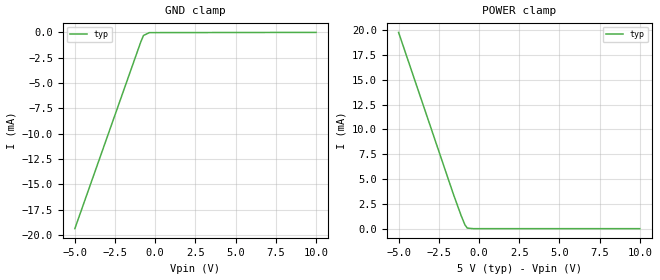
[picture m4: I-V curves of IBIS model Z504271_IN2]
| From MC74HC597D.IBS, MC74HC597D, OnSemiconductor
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| (C) COPYRIGHT 1993-2000
| MENTOR GRAPHICS CORPORATION
| ICX STANDARD LIBRARY, ICX PROJECT MODELING,
| ICX CUSTOM MODELING, ICX VENDOR MODEL
| ALL RIGHTS RESERVED.
| THE FOLLOWING ARE TRADEMARKS OR SERVICE MARKS OF
| MENTOR GRAPHICS CORPORATION:ICX (R), ICX STANDARD
| LIBRARY(R), ICX PROJECT MODELING(R), ICX CUSTOM
| MODELING(R), qualityIBIS(TM), MODELVIEWER(TM),
| AND MODELEDITOR(TM)
| ALL COPIES OF SOFTWARE, INCLUDING BUT NOT LIMITED TO
| ANY MODIFICATIONS, ENHANCEMENTS OR DERIVATIVE WORKS,
| MUST CONTAIN ALL MENTOR GRAPHICS CORPORATION'S
| NOTICES AND LEGENDS, INCLUDING THOSE EMBEDDED IN
| SOFTWARE AND THOSE AFFIXED TO SOFTWARE MEDIUM
| AND CONTAINER, AS RECEIVED FROM MENTOR GRAPHICS
| CORPORATION.
| Model Application Version 1.89 2/18/99.
[Model] Z504271_IN2
Model_type Input
Vinl = 1.000V
Vinh = 3.500V
C_comp 4.000pF NA NA
| variable typ   min   max
[Voltage Range] 5.000V NA NA
[GND Clamp Reference] 0.000V NA NA
[POWER Clamp Reference] 5.000V NA NA
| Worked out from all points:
|   POWER clamp passes 1 mA (typ) near -1.03 V on its own axis
[GND Clamp]
-5V       -19.36mA   NA         NA
-898.4mV  -937.3uA   NA         NA
-727.6mV  -297uA     NA         NA
-363.8mV  -19.22uA   NA         NA
10V       3.159uA    NA         NA
[POWER Clamp]
-5V       19.79mA    NA         NA
-1.597V   3.501mA    NA         NA
-1.099V   1.272mA    NA         NA
-869mV    374.4uA    NA         NA
-730mV    60.66uA    NA         NA
-365mV    0A         NA         NA
10V       0A         NA         NA
